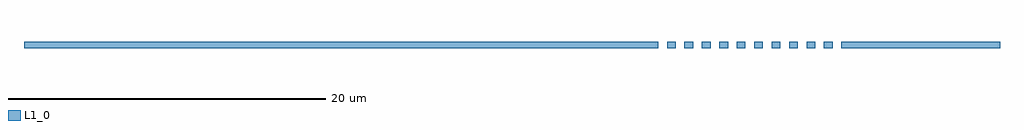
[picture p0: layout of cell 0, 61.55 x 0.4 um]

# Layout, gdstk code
import gdstk
lib = gdstk.Library(unit=1e-6, precision=1e-09)
def R(c, l, rs):  # rectangles x0, y0, x1, y1
    for r in rs: c.add(gdstk.rectangle(r[:2], r[2:], *l))
def A(c, l, x, y, w, h, nx, ny, dx, dy):  # array of equal rectangles
    R(c, l, [(x+i*dx, y+j*dy, x+i*dx+w, y+j*dy+h) for i in range(nx) for j in range(ny)])
L1_0 = (1, 0)

c_0 = lib.new_cell('0')
A(c_0, L1_0, 11.875, -0.2, 0.55, 0.4, 10, 1, 1.1, 0)
R(c_0, L1_0, [(-28.675,-0.2,11.325,0.2), (22.875,-0.2,32.875,0.2)])

lib.write_gds('0.gds')
